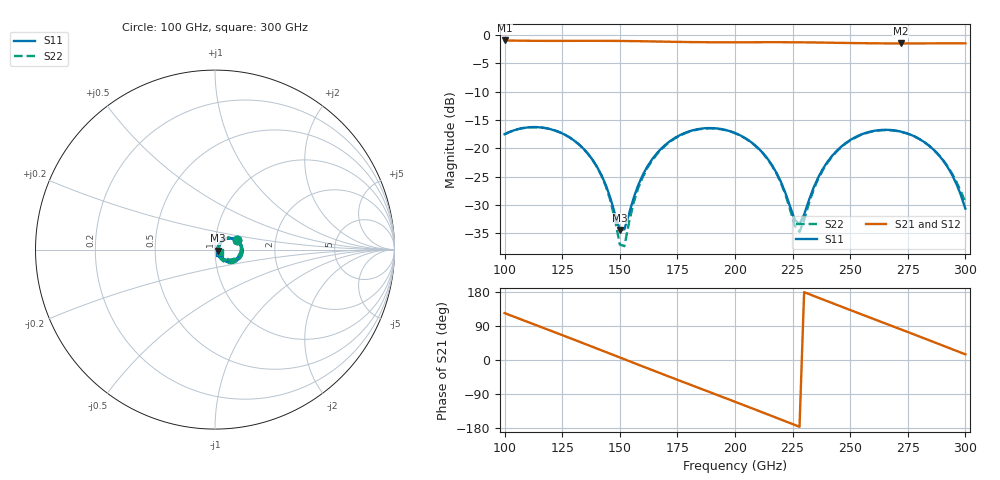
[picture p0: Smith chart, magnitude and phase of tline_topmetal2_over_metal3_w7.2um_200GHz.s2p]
#  GHZ S DB R 50
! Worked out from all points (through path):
!   101 points, 100 GHz to 300 GHz, reference 50 ohm
!   highest |S21| = -0.94 dB at 100 GHz (marker M1); lowest = -1.5 dB at 272 GHz (marker M2)
!   group delay of S21, straight-line fit = 6.51 ps
!   lowest |S11| = -34.4 dB at 150 GHz (marker M3), VSWR 1.04, Z = 51.8 - j0.614 ohm
!   |S11| at or under -10 dB: start of sweep to end of sweep
!   |S22| runs from -37.3 to -16.3 dB; largest |S21 - S12| = 1e-13
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100  -17.52 23.2  -0.94 123.7  -0.94 123.7  -17.52 22.6
116  -16.34 -9.4  -1.01 86.6  -1.01 86.6  -16.33 -10.5
134  -19.99 -44.3  -1.00 44.5  -1.00 44.5  -19.99 -47.1
144  -26.59 -54.1  -1.01 20.9  -1.01 20.9  -26.78 -60.8
150  -34.44 -18.2  -1.03 6.7  -1.03 6.7  -37.02 -28.7
152  -34.33 15.9  -1.04 1.9  -1.04 1.9  -37.32 20.9
156  -28.79 47.1  -1.06 -7.6  -1.06 -7.6  -29.61 54.9
160  -24.68 50.0  -1.08 -17.0  -1.08 -17.0  -25.04 55.2
168  -20.05 40.1  -1.14 -35.8  -1.14 -35.8  -20.20 43.1
184  -16.61 9.7  -1.24 -73.1  -1.24 -73.1  -16.68 11.2
200  -17.30 -22.0  -1.27 -110.2  -1.27 -110.2  -17.34 -21.4
216  -22.95 -48.0  -1.25 -147.8  -1.25 -147.8  -23.04 -48.9
228  -33.42 6.1  -1.27 -176.2  -1.27 -176.2  -34.80 7.7
234  -27.08 46.6  -1.29 169.6  -1.29 169.6  -27.45 51.5
240  -22.48 45.8  -1.33 155.4  -1.33 155.4  -22.63 49.4
248  -19.10 33.9  -1.38 136.6  -1.38 136.6  -19.19 36.9
258  -17.13 15.2  -1.43 113.3  -1.43 113.3  -17.19 17.9
268  -16.79 -4.5  -1.46 90.1  -1.46 90.1  -16.83 -1.7
272  -17.05 -12.4  -1.47 80.8  -1.47 80.8  -17.09 -9.4
288  -21.01 -41.6  -1.45 43.3  -1.45 43.3  -20.98 -36.9
294  -24.53 -48.0  -1.45 29.1  -1.45 29.1  -24.33 -41.4
300  -30.68 -38.6  -1.45 14.9  -1.45 14.9  -29.56 -28.5
